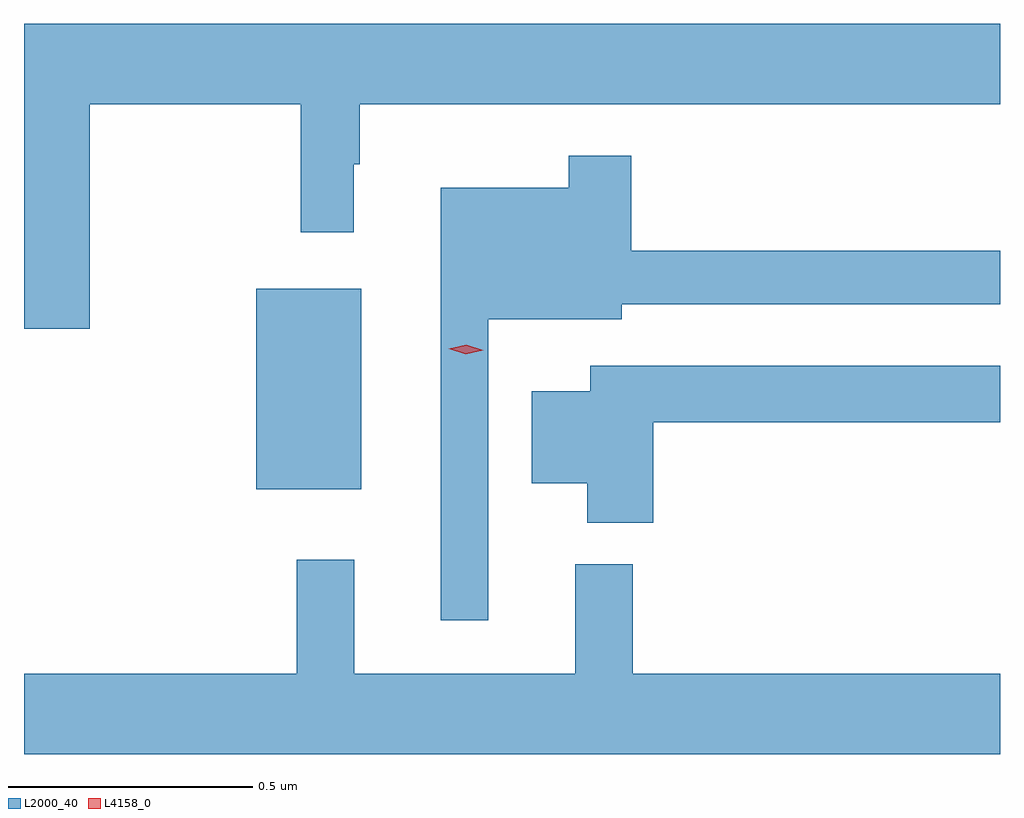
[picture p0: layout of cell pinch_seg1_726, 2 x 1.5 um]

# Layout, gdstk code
import gdstk
lib = gdstk.Library(unit=1e-6, precision=1e-09)
def R(c, l, rs):  # rectangles x0, y0, x1, y1
    for r in rs: c.add(gdstk.rectangle(r[:2], r[2:], *l))
def P(c, l, *ps):  # polygons
    for p in ps: c.add(gdstk.Polygon(p, *l))
L2000_40 = (2000, 40)
L4158_0 = (4158, 0)

pinch_seg1_726 = lib.new_cell('pinch_seg1_726')
R(pinch_seg1_726, L2000_40, [(693.938,577.583,694.153,577.993)])
P(pinch_seg1_726, L2000_40, [(693.462,577.911),(693.597,577.911),(693.597,578.372),(694.029,578.372),(694.029,578.109),(694.138,578.109),(694.138,578.249),(694.15,578.249),(694.15,578.372),(695.462,578.372),(695.462,578.536),(693.462,578.536)],
  [(694.413,577.931),(694.687,577.931),(694.687,577.962),(695.462,577.962),(695.462,578.071),(694.706,578.071),(694.706,578.266),(694.578,578.266),(694.578,578.2),(694.316,578.2),(694.316,577.314),(694.413,577.314)],
  [(694.751,577.72),(695.462,577.72),(695.462,577.836),(694.622,577.836),(694.622,577.783),(694.502,577.783),(694.502,577.595),(694.616,577.595),(694.616,577.514),(694.751,577.514)],
  [(695.462,577.204),(694.709,577.204),(694.709,577.429),(694.592,577.429),(694.592,577.204),(694.139,577.204),(694.139,577.438),(694.021,577.438),(694.021,577.204),(693.462,577.204),(693.462,577.04),(695.462,577.04)])
P(pinch_seg1_726, L4158_0, [(694.367,577.859),(694.332,577.87),(694.331,577.87),(694.332,577.87),(694.368,577.879),(694.403,577.867),(694.403,577.867),(694.403,577.867)])

lib.write_gds('pinch_seg1_726.gds')
